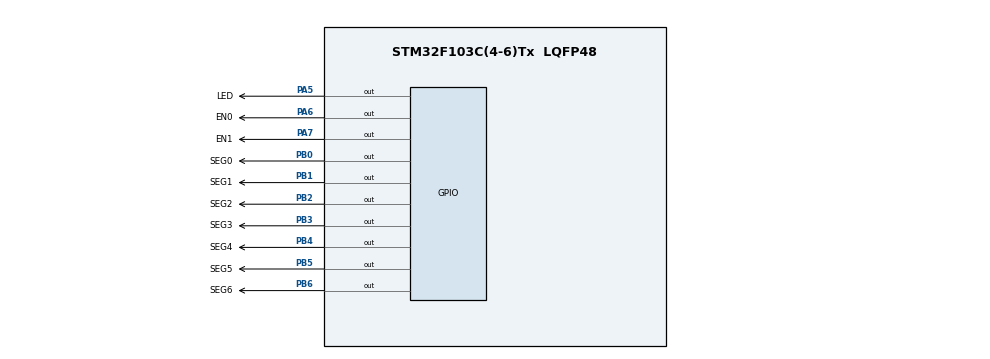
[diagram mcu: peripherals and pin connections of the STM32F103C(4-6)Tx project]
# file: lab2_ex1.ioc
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Mcu.Family=STM32F1
Mcu.Name=STM32F103C(4-6)Tx
Mcu.Package=LQFP48
NVIC.PriorityGroup=NVIC_PRIORITYGROUP_4
NVIC.TIM2_IRQn=true\:0\:0\:false\:false\:true\:true\:true
PA5.GPIO_Label=LED
PA5.Signal=GPIO_Output
PA6.GPIO_Label=EN0
PA6.Signal=GPIO_Output
PA7.GPIO_Label=EN1
PA7.Signal=GPIO_Output
PB0.GPIO_Label=SEG0
PB0.Signal=GPIO_Output
PB1.GPIO_Label=SEG1
PB1.Signal=GPIO_Output
PB2.GPIO_Label=SEG2
PB2.Signal=GPIO_Output
PB3.GPIO_Label=SEG3
PB3.Signal=GPIO_Output
PB4.GPIO_Label=SEG4
PB4.Signal=GPIO_Output
PB5.GPIO_Label=SEG5
PB5.Signal=GPIO_Output
PB6.GPIO_Label=SEG6
PB6.Signal=GPIO_Output
ProjectManager.HeapSize=0x200
ProjectManager.StackSize=0x400
ProjectManager.TargetToolchain=STM32CubeIDE
RCC.APB1Freq_Value=8000000
RCC.APB2Freq_Value=8000000
TIM2.Period=9
TIM2.Prescaler=7999
VP_SYS_VS_ND.Mode=No_Debug
VP_TIM2_VS_ClockSourceINT.Mode=Internal
board=custom

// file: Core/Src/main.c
/* USER CODE BEGIN Header */
/**
  ******************************************************************************
  * @file           : main.c
  * @brief          : Main program body
  ******************************************************************************
  * @attention
  *
  * <h2><center>&copy; Copyright (c) 2023 STMicroelectronics.
  * All rights reserved.</center></h2>
  *
  * This software component is licensed by ST under BSD 3-Clause license,
  * the "License"; You may not use this file except in compliance with the
  * License. You may obtain a copy of the License at:
  *                        opensource.org/licenses/BSD-3-Clause
  *
  ******************************************************************************
  */
/* USER CODE END Header */
#include "main.h"

/* USER CODE BEGIN Includes */
#include "software_timer.h"
/* USER CODE END Includes */

/* USER CODE BEGIN PD */
#define A_GPIO_Port		SEG0_GPIO_Port
#define B_GPIO_Port		SEG0_GPIO_Port
#define C_GPIO_Port		SEG0_GPIO_Port
#define D_GPIO_Port		SEG0_GPIO_Port
#define E_GPIO_Port		SEG0_GPIO_Port
#define F_GPIO_Port		SEG0_GPIO_Port
#define G_GPIO_Port		SEG0_GPIO_Port
#define A_Pin			SEG0_Pin
#define B_Pin			SEG1_Pin
#define C_Pin			SEG2_Pin
#define D_Pin			SEG3_Pin
#define E_Pin			SEG4_Pin
#define F_Pin			SEG5_Pin
#define G_Pin			SEG6_Pin

/* USER CODE END PD */

TIM_HandleTypeDef htim2;

void SystemClock_Config(void);
static void MX_GPIO_Init(void);
static void MX_TIM2_Init(void);
/* USER CODE BEGIN PFP */
void display7SEG(int num);
/* USER CODE END PFP */

int main(void)
{

  /* MCU Configuration--------------------------------------------------------*/

  /* Reset of all peripherals, Initializes the Flash interface and the Systick. */
  HAL_Init();

  /* Configure the system clock */
  SystemClock_Config();

  /* Initialize all configured peripherals */
  MX_GPIO_Init();
  MX_TIM2_Init();
  /* USER CODE BEGIN 2 */
  HAL_TIM_Base_Start_IT(&htim2);
  /* USER CODE END 2 */

  /* Infinite loop */
  /* USER CODE BEGIN WHILE */
  enum statusLed{
    led1,
    led2,
  };
  HAL_GPIO_WritePin(EN0_GPIO_Port, EN0_Pin, 0);
  HAL_GPIO_WritePin(EN1_GPIO_Port, EN1_Pin, 1);
  display7SEG(1);
  enum statusLed status = led1;
  setTimer1(50);
  while (1)
  {
	  if (timer1_flag == 1){
		  setTimer1(50);
		  switch (status) {
			case led1:
				display7SEG(1);
				HAL_GPIO_WritePin(EN0_GPIO_Port,EN0_Pin, 0);
				HAL_GPIO_WritePin(EN1_GPIO_Port,EN1_Pin, 1);
				status = led2;
				break;
			case led2:
				display7SEG(2);
				HAL_GPIO_WritePin(EN0_GPIO_Port,EN0_Pin, 1);
				HAL_GPIO_WritePin(EN1_GPIO_Port,EN1_Pin, 0);
				status = led1;
				break;
			default:
				break;
		}
	  }
    /* USER CODE END WHILE */

  }
}

void SystemClock_Config(void)
{
  RCC_OscInitTypeDef RCC_OscInitStruct = {0};
  RCC_ClkInitTypeDef RCC_ClkInitStruct = {0};

  /** Initializes the RCC Oscillators according to the specified parameters
  * in the RCC_OscInitTypeDef structure.
  */
  RCC_OscInitStruct.OscillatorType = RCC_OSCILLATORTYPE_HSI;
  RCC_OscInitStruct.HSIState = RCC_HSI_ON;
  RCC_OscInitStruct.HSICalibrationValue = RCC_HSICALIBRATION_DEFAULT;
  RCC_OscInitStruct.PLL.PLLState = RCC_PLL_NONE;
  if (HAL_RCC_OscConfig(&RCC_OscInitStruct) != HAL_OK)
  {
    Error_Handler();
  }
  /** Initializes the CPU, AHB and APB buses clocks
  */
  RCC_ClkInitStruct.ClockType = RCC_CLOCKTYPE_HCLK|RCC_CLOCKTYPE_SYSCLK
                              |RCC_CLOCKTYPE_PCLK1|RCC_CLOCKTYPE_PCLK2;
  RCC_ClkInitStruct.SYSCLKSource = RCC_SYSCLKSOURCE_HSI;
  RCC_ClkInitStruct.AHBCLKDivider = RCC_SYSCLK_DIV1;
  RCC_ClkInitStruct.APB1CLKDivider = RCC_HCLK_DIV1;
  RCC_ClkInitStruct.APB2CLKDivider = RCC_HCLK_DIV1;

  if (HAL_RCC_ClockConfig(&RCC_ClkInitStruct, FLASH_LATENCY_0) != HAL_OK)
  {
    Error_Handler();
  }
}

static void MX_TIM2_Init(void)
{

  TIM_ClockConfigTypeDef sClockSourceConfig = {0};
  TIM_MasterConfigTypeDef sMasterConfig = {0};

  htim2.Instance = TIM2;
  htim2.Init.Prescaler = 7999;
  htim2.Init.CounterMode = TIM_COUNTERMODE_UP;
  htim2.Init.Period = 9;
  htim2.Init.ClockDivision = TIM_CLOCKDIVISION_DIV1;
  htim2.Init.AutoReloadPreload = TIM_AUTORELOAD_PRELOAD_DISABLE;
  if (HAL_TIM_Base_Init(&htim2) != HAL_OK)
  {
    Error_Handler();
  }
  sClockSourceConfig.ClockSource = TIM_CLOCKSOURCE_INTERNAL;
  if (HAL_TIM_ConfigClockSource(&htim2, &sClockSourceConfig) != HAL_OK)
  {
    Error_Handler();
  }
  sMasterConfig.MasterOutputTrigger = TIM_TRGO_RESET;
  sMasterConfig.MasterSlaveMode = TIM_MASTERSLAVEMODE_DISABLE;
  if (HAL_TIMEx_MasterConfigSynchronization(&htim2, &sMasterConfig) != HAL_OK)
  {
    Error_Handler();
  }

}

static void MX_GPIO_Init(void)
{
  GPIO_InitTypeDef GPIO_InitStruct = {0};

  /* GPIO Ports Clock Enable */
  __HAL_RCC_GPIOA_CLK_ENABLE();
  __HAL_RCC_GPIOB_CLK_ENABLE();

  /*Configure GPIO pin Output Level */
  HAL_GPIO_WritePin(GPIOA, LED_Pin|EN0_Pin|EN1_Pin, GPIO_PIN_RESET);

  /*Configure GPIO pin Output Level */
  HAL_GPIO_WritePin(GPIOB, SEG0_Pin|SEG1_Pin|SEG2_Pin|SEG3_Pin
                          |SEG4_Pin|SEG5_Pin|SEG6_Pin, GPIO_PIN_RESET);

  /*Configure GPIO pins : LED_Pin EN0_Pin EN1_Pin */
  GPIO_InitStruct.Pin = LED_Pin|EN0_Pin|EN1_Pin;
  GPIO_InitStruct.Mode = GPIO_MODE_OUTPUT_PP;
  GPIO_InitStruct.Pull = GPIO_NOPULL;
  GPIO_InitStruct.Speed = GPIO_SPEED_FREQ_LOW;
  HAL_GPIO_Init(GPIOA, &GPIO_InitStruct);

  /*Configure GPIO pins : SEG0_Pin SEG1_Pin SEG2_Pin SEG3_Pin
                           SEG4_Pin SEG5_Pin SEG6_Pin */
  GPIO_InitStruct.Pin = SEG0_Pin|SEG1_Pin|SEG2_Pin|SEG3_Pin
                          |SEG4_Pin|SEG5_Pin|SEG6_Pin;
  GPIO_InitStruct.Mode = GPIO_MODE_OUTPUT_PP;
  GPIO_InitStruct.Pull = GPIO_NOPULL;
  GPIO_InitStruct.Speed = GPIO_SPEED_FREQ_LOW;
  HAL_GPIO_Init(GPIOB, &GPIO_InitStruct);

}

/* USER CODE BEGIN 4 */
int counter = 200;
void HAL_TIM_PeriodElapsedCallback(TIM_HandleTypeDef *htim){
	timerRun();
}
void display7SEG(int num){
	switch (num){
	case 0:
		HAL_GPIO_WritePin(A_GPIO_Port, A_Pin, 0);
		HAL_GPIO_WritePin(B_GPIO_Port, B_Pin, 0);
		HAL_GPIO_WritePin(C_GPIO_Port, C_Pin, 0);
		HAL_GPIO_WritePin(D_GPIO_Port, D_Pin, 0);
		HAL_GPIO_WritePin(E_GPIO_Port, E_Pin, 0);
		HAL_GPIO_WritePin(F_GPIO_Port, F_Pin, 0);
		HAL_GPIO_WritePin(G_GPIO_Port, G_Pin, 1);
		break;
	case 1:
		HAL_GPIO_WritePin(A_GPIO_Port, A_Pin, 1);
		HAL_GPIO_WritePin(B_GPIO_Port, B_Pin, 0);
		HAL_GPIO_WritePin(C_GPIO_Port, C_Pin, 0);
		HAL_GPIO_WritePin(D_GPIO_Port, D_Pin, 1);
		HAL_GPIO_WritePin(E_GPIO_Port, E_Pin, 1);
		HAL_GPIO_WritePin(F_GPIO_Port, F_Pin, 1);
		HAL_GPIO_WritePin(G_GPIO_Port, G_Pin, 1);
		break;
	case 2:
		HAL_GPIO_WritePin(A_GPIO_Port, A_Pin, 0);
		HAL_GPIO_WritePin(B_GPIO_Port, B_Pin, 0);
		HAL_GPIO_WritePin(C_GPIO_Port, C_Pin, 1);
		HAL_GPIO_WritePin(D_GPIO_Port, D_Pin, 0);
		HAL_GPIO_WritePin(E_GPIO_Port, E_Pin, 0);
		HAL_GPIO_WritePin(F_GPIO_Port, F_Pin, 1);
		HAL_GPIO_WritePin(G_GPIO_Port, G_Pin, 0);
		break;
	case 3:
		HAL_GPIO_WritePin(A_GPIO_Port, A_Pin, 0);
		HAL_GPIO_WritePin(B_GPIO_Port, B_Pin, 0);
		HAL_GPIO_WritePin(C_GPIO_Port, C_Pin, 0);
		HAL_GPIO_WritePin(D_GPIO_Port, D_Pin, 0);
		HAL_GPIO_WritePin(E_GPIO_Port, E_Pin, 1);
		HAL_GPIO_WritePin(F_GPIO_Port, F_Pin, 1);
		HAL_GPIO_WritePin(G_GPIO_Port, G_Pin, 0);
		break;
	case 4:
		HAL_GPIO_WritePin(A_GPIO_Port, A_Pin, 1);
		HAL_GPIO_WritePin(B_GPIO_Port, B_Pin, 0);
		HAL_GPIO_WritePin(C_GPIO_Port, C_Pin, 0);
		HAL_GPIO_WritePin(D_GPIO_Port, D_Pin, 1);
		HAL_GPIO_WritePin(E_GPIO_Port, E_Pin, 1);
		HAL_GPIO_WritePin(F_GPIO_Port, F_Pin, 0);
		HAL_GPIO_WritePin(G_GPIO_Port, G_Pin, 0);
		break;
	case 5:
		HAL_GPIO_WritePin(A_GPIO_Port, A_Pin, 0);
		HAL_GPIO_WritePin(B_GPIO_Port, B_Pin, 1);
		HAL_GPIO_WritePin(C_GPIO_Port, C_Pin, 0);
		HAL_GPIO_WritePin(D_GPIO_Port, D_Pin, 0);
		HAL_GPIO_WritePin(E_GPIO_Port, E_Pin, 1);
		HAL_GPIO_WritePin(F_GPIO_Port, F_Pin, 0);
		HAL_GPIO_WritePin(G_GPIO_Port, G_Pin, 0);
		break;
	case 6:
		HAL_GPIO_WritePin(A_GPIO_Port, A_Pin, 0);
		HAL_GPIO_WritePin(B_GPIO_Port, B_Pin, 1);
		HAL_GPIO_WritePin(C_GPIO_Port, C_Pin, 0);
		HAL_GPIO_WritePin(D_GPIO_Port, D_Pin, 0);
		HAL_GPIO_WritePin(E_GPIO_Port, E_Pin, 0);
		HAL_GPIO_WritePin(F_GPIO_Port, F_Pin, 0);
		HAL_GPIO_WritePin(G_GPIO_Port, G_Pin, 0);
		break;
	case 7:
		HAL_GPIO_WritePin(A_GPIO_Port, A_Pin, 0);
		HAL_GPIO_WritePin(B_GPIO_Port, B_Pin, 0);
		HAL_GPIO_WritePin(C_GPIO_Port, C_Pin, 0);
		HAL_GPIO_WritePin(D_GPIO_Port, D_Pin, 1);
		HAL_GPIO_WritePin(E_GPIO_Port, E_Pin, 1);
		HAL_GPIO_WritePin(F_GPIO_Port, F_Pin, 1);
		HAL_GPIO_WritePin(G_GPIO_Port, G_Pin, 1);
		break;
	case 8:
		HAL_GPIO_WritePin(A_GPIO_Port, A_Pin, 0);
		HAL_GPIO_WritePin(B_GPIO_Port, B_Pin, 0);
		HAL_GPIO_WritePin(C_GPIO_Port, C_Pin, 0);
		HAL_GPIO_WritePin(D_GPIO_Port, D_Pin, 0);
		HAL_GPIO_WritePin(E_GPIO_Port, E_Pin, 0);
		HAL_GPIO_WritePin(F_GPIO_Port, F_Pin, 0);
		HAL_GPIO_WritePin(G_GPIO_Port, G_Pin, 0);
		break;
	case 9:
		HAL_GPIO_WritePin(A_GPIO_Port, A_Pin, 0);
		HAL_GPIO_WritePin(B_GPIO_Port, B_Pin, 0);
		HAL_GPIO_WritePin(C_GPIO_Port, C_Pin, 0);
		HAL_GPIO_WritePin(D_GPIO_Port, D_Pin, 0);
		HAL_GPIO_WritePin(E_GPIO_Port, E_Pin, 1);
		HAL_GPIO_WritePin(F_GPIO_Port, F_Pin, 0);
		HAL_GPIO_WritePin(G_GPIO_Port, G_Pin, 0);
		break;
	}
}
/* USER CODE END 4 */

void Error_Handler(void)
{
  __disable_irq();
  while (1)
  {
  }
}

/************************ (C) COPYRIGHT STMicroelectronics *****END OF FILE****/
